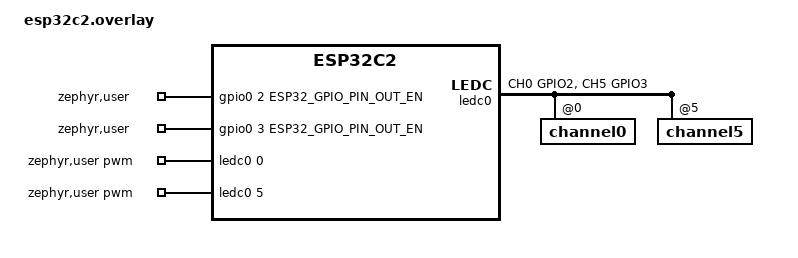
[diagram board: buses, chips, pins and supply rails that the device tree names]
/*
 * SPDX-License-Identifier: Apache-2.0
 *
 * Copyright (c) 2024 Espressif Systems (Shanghai) Co., Ltd.
 */

#include <zephyr/dt-bindings/pwm/pwm.h>
#include <zephyr/dt-bindings/gpio/gpio.h>
#include <zephyr/dt-bindings/gpio/espressif-esp32-gpio.h>

/ {
	zephyr,user {
		/* GPIO input pins order must match PWM pinctrl config */
		gpios = <&gpio0 2 ESP32_GPIO_PIN_OUT_EN>,
			<&gpio0 3 ESP32_GPIO_PIN_OUT_EN>;

		pwms = <&ledc0 0 160000 PWM_POLARITY_NORMAL>,
		       <&ledc0 5 80000 PWM_POLARITY_INVERTED>;
	};
};

&pinctrl {
	ledc0_default: ledc0_default {
		group1 {
			pinmux = <LEDC_CH0_GPIO2>,
				 <LEDC_CH5_GPIO3>;
			input-enable;
		};
	};
};

&ledc0 {
	pinctrl-0 = <&ledc0_default>;
	pinctrl-names = "default";
	status = "okay";
	#address-cells = <1>;
	#size-cells = <0>;

	channel0@0 {
		reg = <0x0>;
		timer = <0>;
	};

	channel5@5 {
		reg = <0x5>;
		timer = <1>;
	};
};
